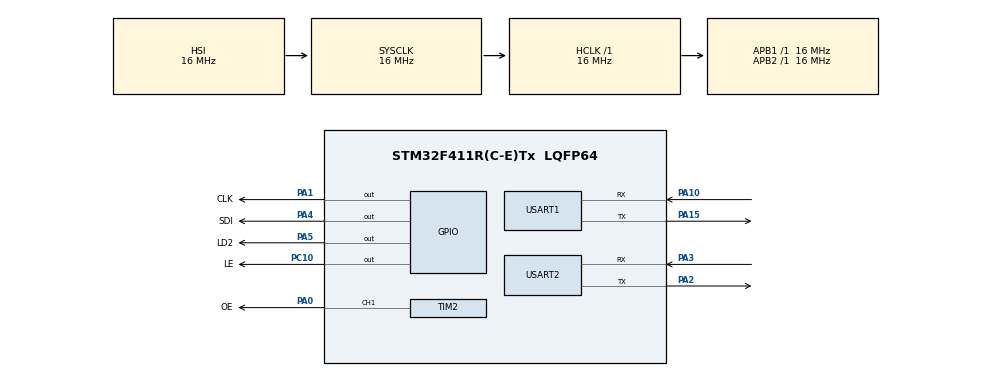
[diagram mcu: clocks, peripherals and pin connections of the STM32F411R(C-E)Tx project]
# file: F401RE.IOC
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FREERTOS.Tasks01=defaultTask,0,128,StartDefaultTask,Default,NULL
Mcu.Family=STM32F4
Mcu.Name=STM32F411R(C-E)Tx
Mcu.Package=LQFP64
NVIC.PriorityGroup=NVIC_PRIORITYGROUP_4
NVIC.TIM1_CC_IRQn=true\:5\:0\:false\:false\:true\:true\:true
NVIC.TIM2_IRQn=true\:5\:0\:false\:false\:true\:true\:true
NVIC.USART2_IRQn=true\:5\:0\:false\:false\:true\:true\:true
PA0-WKUP.GPIO_Label=OE
PA0-WKUP.Signal=S_TIM2_CH1_ETR
PA1.GPIO_Label=CLK
PA1.GPIO_Speed=GPIO_SPEED_FREQ_HIGH
PA1.Signal=GPIO_Output
PA10.Mode=Asynchronous
PA10.Signal=USART1_RX
PA15.Mode=Asynchronous
PA15.Signal=USART1_TX
PA2.Mode=Asynchronous
PA2.Signal=USART2_TX
PA3.Mode=Asynchronous
PA3.Signal=USART2_RX
PA4.GPIO_Label=SDI
PA4.GPIO_Speed=GPIO_SPEED_FREQ_HIGH
PA4.Signal=GPIO_Output
PA5.GPIO_Label=LD2
PA5.GPIO_Speed=GPIO_SPEED_FREQ_HIGH
PA5.Signal=GPIO_Output
PC10.GPIO_Label=LE
PC10.GPIO_Speed=GPIO_SPEED_FREQ_HIGH
PC10.Signal=GPIO_Output
ProjectManager.HeapSize=0x1000
ProjectManager.StackSize=0x800
ProjectManager.TargetToolchain=MDK-ARM V5
RCC.AHBFreq_Value=16000000
RCC.APB1Freq_Value=16000000
RCC.APB2Freq_Value=16000000
RCC.CortexFreq_Value=16000000
RCC.HSE_VALUE=25000000
RCC.HSI_VALUE=16000000
RCC.LSE_VALUE=32768
RCC.SYSCLKFreq_VALUE=16000000
RCC.VCOOutputFreq_Value=192000000
SH.S_TIM2_CH1_ETR.0=TIM2_CH1,PWM Generation1 CH1
TIM1.Channel-Output\ Compare1\ No\ Output=TIM_CHANNEL_1
TIM1.Channel-Output\ Compare2\ No\ Output=TIM_CHANNEL_2
TIM1.Channel-Output\ Compare3\ No\ Output=TIM_CHANNEL_3
TIM1.CounterMode=TIM_COUNTERMODE_UP
TIM1.OCMode_1=TIM_OCMODE_ACTIVE
TIM1.OCMode_2=TIM_OCMODE_INACTIVE
TIM1.OCMode_3=TIM_OCMODE_ACTIVE
TIM1.OCPolarity_2=TIM_OCPOLARITY_LOW
TIM1.Period=10-1
TIM1.Prescaler=320-1
TIM1.Pulse-Output\ Compare1\ No\ Output=0
TIM1.Pulse-Output\ Compare2\ No\ Output=5
TIM1.Pulse-Output\ Compare3\ No\ Output=1
TIM1.RepetitionCounter=20-1
TIM1.TIM_MasterOutputTrigger=TIM_TRGO_UPDATE
TIM1.TIM_MasterSlaveMode=TIM_MASTERSLAVEMODE_ENABLE
TIM2.Channel-PWM\ Generation1\ CH1=TIM_CHANNEL_1
TIM2.OCPolarity_1=TIM_OCPOLARITY_LOW
TIM2.Period=300
TIM2.Prescaler=320-1
TIM2.Pulse-PWM\ Generation1\ CH1=20
USART1.VirtualMode=VM_ASYNC
USART2.VirtualMode=VM_ASYNC
VP_FREERTOS_VS_ENABLE.Mode=Enabled
VP_TIM1_VS_ClockSourceINT.Mode=Internal
VP_TIM1_VS_no_output1.Mode=Output Compare1 No Output
VP_TIM1_VS_no_output2.Mode=Output Compare2 No Output
VP_TIM1_VS_no_output3.Mode=Output Compare3 No Output
VP_TIM2_VS_ClockSourceINT.Mode=Internal
VP_TIM2_VS_ClockSourceITR.Mode=TriggerSource_ITR0
VP_TIM2_VS_ControllerModeReset.Mode=Reset Mode
board=F401RE.IOC

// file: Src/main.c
/**
  ******************************************************************************
  * @file           : main.c
  * @brief          : Main program body
  ******************************************************************************
  * This notice applies to any and all portions of this file
  * that are not between comment pairs USER CODE BEGIN and
  * USER CODE END. Other portions of this file, whether
  * inserted by the user or by software development tools
  * are owned by their respective copyright owners.
  *
  * Copyright (c) 2018 STMicroelectronics International N.V.
  * All rights reserved.
  *
  * Redistribution and use in source and binary forms, with or without
  * modification, are permitted, provided that the following conditions are met:
  *
  * 1. Redistribution of source code must retain the above copyright notice,
  *    this list of conditions and the following disclaimer.
  * 2. Redistributions in binary form must reproduce the above copyright notice,
  *    this list of conditions and the following disclaimer in the documentation
  *    and/or other materials provided with the distribution.
  * 3. Neither the name of STMicroelectronics nor the names of other
  *    contributors to this software may be used to endorse or promote products
  *    derived from this software without specific written permission.
  * 4. This software, including modifications and/or derivative works of this
  *    software, must execute solely and exclusively on microcontroller or
  *    microprocessor devices manufactured by or for STMicroelectronics.
  * 5. Redistribution and use of this software other than as permitted under
  *    this license is void and will automatically terminate your rights under
  *    this license.
  *
  * THIS SOFTWARE IS PROVIDED BY STMICROELECTRONICS AND CONTRIBUTORS "AS IS"
  * AND ANY EXPRESS, IMPLIED OR STATUTORY WARRANTIES, INCLUDING, BUT NOT
  * LIMITED TO, THE IMPLIED WARRANTIES OF MERCHANTABILITY, FITNESS FOR A
  * PARTICULAR PURPOSE AND NON-INFRINGEMENT OF THIRD PARTY INTELLECTUAL PROPERTY
  * RIGHTS ARE DISCLAIMED TO THE FULLEST EXTENT PERMITTED BY LAW. IN NO EVENT
  * SHALL STMICROELECTRONICS OR CONTRIBUTORS BE LIABLE FOR ANY DIRECT, INDIRECT,
  * INCIDENTAL, SPECIAL, EXEMPLARY, OR CONSEQUENTIAL DAMAGES (INCLUDING, BUT NOT
  * LIMITED TO, PROCUREMENT OF SUBSTITUTE GOODS OR SERVICES; LOSS OF USE, DATA,
  * OR PROFITS; OR BUSINESS INTERRUPTION) HOWEVER CAUSED AND ON ANY THEORY OF
  * LIABILITY, WHETHER IN CONTRACT, STRICT LIABILITY, OR TORT (INCLUDING
  * NEGLIGENCE OR OTHERWISE) ARISING IN ANY WAY OUT OF THE USE OF THIS SOFTWARE,
  * EVEN IF ADVISED OF THE POSSIBILITY OF SUCH DAMAGE.
  *
  ******************************************************************************
  */
#include "main.h"
#include "stm32f4xx_hal.h"
#include "cmsis_os.h"
#include "tim.h"
#include "usart.h"
#include "gpio.h"

/* USER CODE BEGIN PV */
/* Private variables ---------------------------------------------------------*/

/* USER CODE END PV */

void SystemClock_Config(void);
void MX_FREERTOS_Init(void);

/* USER CODE BEGIN PFP */
/* Private function prototypes -----------------------------------------------*/

/* USER CODE END PFP */

int main(void)
{

  /* MCU Configuration----------------------------------------------------------*/

  /* Reset of all peripherals, Initializes the Flash interface and the Systick. */
  HAL_Init();

  /* Configure the system clock */
  SystemClock_Config();

  /* Initialize all configured peripherals */
  MX_GPIO_Init();
  MX_USART2_UART_Init();
  MX_TIM2_Init();
  MX_USART1_UART_Init();
  MX_TIM1_Init();
  /* USER CODE BEGIN 2 */

  HAL_TIM_OC_Start_IT(&htim1, TIM_CHANNEL_1);
  HAL_TIM_OC_Start_IT(&htim1, TIM_CHANNEL_2);
  HAL_TIM_OC_Start_IT(&htim1, TIM_CHANNEL_3);

  // test purpose only
  //HAL_TIM_Base_Start_IT(&htim2);

  HAL_TIM_PWM_Start(&htim2, TIM_CHANNEL_1);
  /* USER CODE END 2 */

  /* Call init function for freertos objects (in freertos.c) */
  MX_FREERTOS_Init();

  /* Start scheduler */
  osKernelStart();

  /* We should never get here as control is now taken by the scheduler */

  /* Infinite loop */
  while (1)
  {

  }

}

void SystemClock_Config(void)
{

  RCC_OscInitTypeDef RCC_OscInitStruct;
  RCC_ClkInitTypeDef RCC_ClkInitStruct;

    /**Configure the main internal regulator output voltage
    */
  __HAL_RCC_PWR_CLK_ENABLE();

  __HAL_PWR_VOLTAGESCALING_CONFIG(PWR_REGULATOR_VOLTAGE_SCALE1);

    /**Initializes the CPU, AHB and APB busses clocks
    */
  RCC_OscInitStruct.OscillatorType = RCC_OSCILLATORTYPE_HSI;
  RCC_OscInitStruct.HSIState = RCC_HSI_ON;
  RCC_OscInitStruct.HSICalibrationValue = 16;
  RCC_OscInitStruct.PLL.PLLState = RCC_PLL_NONE;
  if (HAL_RCC_OscConfig(&RCC_OscInitStruct) != HAL_OK)
  {
    _Error_Handler(__FILE__, __LINE__);
  }

    /**Initializes the CPU, AHB and APB busses clocks
    */
  RCC_ClkInitStruct.ClockType = RCC_CLOCKTYPE_HCLK|RCC_CLOCKTYPE_SYSCLK
                              |RCC_CLOCKTYPE_PCLK1|RCC_CLOCKTYPE_PCLK2;
  RCC_ClkInitStruct.SYSCLKSource = RCC_SYSCLKSOURCE_HSI;
  RCC_ClkInitStruct.AHBCLKDivider = RCC_SYSCLK_DIV1;
  RCC_ClkInitStruct.APB1CLKDivider = RCC_HCLK_DIV1;
  RCC_ClkInitStruct.APB2CLKDivider = RCC_HCLK_DIV1;

  if (HAL_RCC_ClockConfig(&RCC_ClkInitStruct, FLASH_LATENCY_0) != HAL_OK)
  {
    _Error_Handler(__FILE__, __LINE__);
  }

    /**Configure the Systick interrupt time
    */
  HAL_SYSTICK_Config(HAL_RCC_GetHCLKFreq()/1000);

    /**Configure the Systick
    */
  HAL_SYSTICK_CLKSourceConfig(SYSTICK_CLKSOURCE_HCLK);

  /* SysTick_IRQn interrupt configuration */
  HAL_NVIC_SetPriority(SysTick_IRQn, 15, 0);
}

/* USER CODE BEGIN 4 */

#define NUM_SHIFT 20

static uint32_t shift_index = 0;
uint8_t bit_map[NUM_SHIFT] = {
  0, 0, 0,                                          // three OE time domain
  1, 1, 1, 0, 0, 0, 1, 1, 0, 1, 0, 1, 0, 1, 0, 1,   // SDI time domain
  0                                                 // LE time domain
};

// Handle Output Compare Event
void HAL_TIM_OC_DelayElapsedCallback(TIM_HandleTypeDef *htim)
{
  if (htim->Instance == TIM1)
  {
    switch(htim->Channel)
    {
      case HAL_TIM_ACTIVE_CHANNEL_1:
        HAL_GPIO_WritePin(SDI_GPIO_Port, SDI_Pin, (GPIO_PinState)bit_map[shift_index]);
        // make clock up
        HAL_GPIO_WritePin(CLK_GPIO_Port, CLK_Pin, (GPIO_PinState)(shift_index >= 3 && shift_index <= 18));
        break;
      case HAL_TIM_ACTIVE_CHANNEL_2:
        HAL_GPIO_WritePin(SDI_GPIO_Port, SDI_Pin, GPIO_PIN_RESET);
        // Make clock down
        HAL_GPIO_WritePin(CLK_GPIO_Port, CLK_Pin, GPIO_PIN_RESET);
        if (++shift_index == NUM_SHIFT)
          shift_index = 0;

        HAL_GPIO_WritePin(LE_GPIO_Port, LE_Pin, GPIO_PIN_RESET);

        break;
      case HAL_TIM_ACTIVE_CHANNEL_3:
        HAL_GPIO_WritePin(LE_GPIO_Port, LE_Pin, (GPIO_PinState)(shift_index == 19));
        break;
      default:
        break;
    }
  }
  else if (htim->Instance == TIM2)
  {
  }
}

// Handle Update Event
void HAL_TIM_PeriodElapsedCallback(TIM_HandleTypeDef *htim)
{
  if (htim->Instance == TIM1)
  {
  }
  else if (htim->Instance == TIM2)
  {
    //int toggle = HAL_GPIO_ReadPin(LD2_GPIO_Port, LD2_Pin);

    //HAL_GPIO_WritePin(LD2_GPIO_Port, LD2_Pin, (GPIO_PinState)!toggle);
  }
}

/* USER CODE END 4 */

void _Error_Handler(char *file, int line)
{
  while(1)
  {
  }
}

/************************ (C) COPYRIGHT STMicroelectronics *****END OF FILE****/

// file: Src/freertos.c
/**
  ******************************************************************************
  * File Name          : freertos.c
  * Description        : Code for freertos applications
  ******************************************************************************
  * This notice applies to any and all portions of this file
  * that are not between comment pairs USER CODE BEGIN and
  * USER CODE END. Other portions of this file, whether
  * inserted by the user or by software development tools
  * are owned by their respective copyright owners.
  *
  * Copyright (c) 2018 STMicroelectronics International N.V.
  * All rights reserved.
  *
  * Redistribution and use in source and binary forms, with or without
  * modification, are permitted, provided that the following conditions are met:
  *
  * 1. Redistribution of source code must retain the above copyright notice,
  *    this list of conditions and the following disclaimer.
  * 2. Redistributions in binary form must reproduce the above copyright notice,
  *    this list of conditions and the following disclaimer in the documentation
  *    and/or other materials provided with the distribution.
  * 3. Neither the name of STMicroelectronics nor the names of other
  *    contributors to this software may be used to endorse or promote products
  *    derived from this software without specific written permission.
  * 4. This software, including modifications and/or derivative works of this
  *    software, must execute solely and exclusively on microcontroller or
  *    microprocessor devices manufactured by or for STMicroelectronics.
  * 5. Redistribution and use of this software other than as permitted under
  *    this license is void and will automatically terminate your rights under
  *    this license.
  *
  * THIS SOFTWARE IS PROVIDED BY STMICROELECTRONICS AND CONTRIBUTORS "AS IS"
  * AND ANY EXPRESS, IMPLIED OR STATUTORY WARRANTIES, INCLUDING, BUT NOT
  * LIMITED TO, THE IMPLIED WARRANTIES OF MERCHANTABILITY, FITNESS FOR A
  * PARTICULAR PURPOSE AND NON-INFRINGEMENT OF THIRD PARTY INTELLECTUAL PROPERTY
  * RIGHTS ARE DISCLAIMED TO THE FULLEST EXTENT PERMITTED BY LAW. IN NO EVENT
  * SHALL STMICROELECTRONICS OR CONTRIBUTORS BE LIABLE FOR ANY DIRECT, INDIRECT,
  * INCIDENTAL, SPECIAL, EXEMPLARY, OR CONSEQUENTIAL DAMAGES (INCLUDING, BUT NOT
  * LIMITED TO, PROCUREMENT OF SUBSTITUTE GOODS OR SERVICES; LOSS OF USE, DATA,
  * OR PROFITS; OR BUSINESS INTERRUPTION) HOWEVER CAUSED AND ON ANY THEORY OF
  * LIABILITY, WHETHER IN CONTRACT, STRICT LIABILITY, OR TORT (INCLUDING
  * NEGLIGENCE OR OTHERWISE) ARISING IN ANY WAY OUT OF THE USE OF THIS SOFTWARE,
  * EVEN IF ADVISED OF THE POSSIBILITY OF SUCH DAMAGE.
  *
  ******************************************************************************
  */

#include "FreeRTOS.h"
#include "task.h"
#include "cmsis_os.h"

/* USER CODE BEGIN Includes */
#include "main.h"
#include "gpio.h"
/* USER CODE END Includes */

osThreadId defaultTaskHandle;

void StartDefaultTask(void const * argument);

void MX_FREERTOS_Init(void); /* (MISRA C 2004 rule 8.1) */

/* Hook prototypes */

/* Init FreeRTOS */

void MX_FREERTOS_Init(void) {

  /* Create the thread(s) */
  /* definition and creation of defaultTask */
  osThreadDef(defaultTask, StartDefaultTask, osPriorityNormal, 0, 128);
  defaultTaskHandle = osThreadCreate(osThread(defaultTask), NULL);

}

/* StartDefaultTask function */
void StartDefaultTask(void const * argument)
{

  /* USER CODE BEGIN StartDefaultTask */
  /* Infinite loop */
  for(;;)
  {
    HAL_GPIO_WritePin(LD2_GPIO_Port, LD2_Pin, GPIO_PIN_RESET);
    osDelay(500);
    HAL_GPIO_WritePin(LD2_GPIO_Port, LD2_Pin, GPIO_PIN_SET);
    osDelay(500);
  }
  /* USER CODE END StartDefaultTask */
}

/************************ (C) COPYRIGHT STMicroelectronics *****END OF FILE****/
